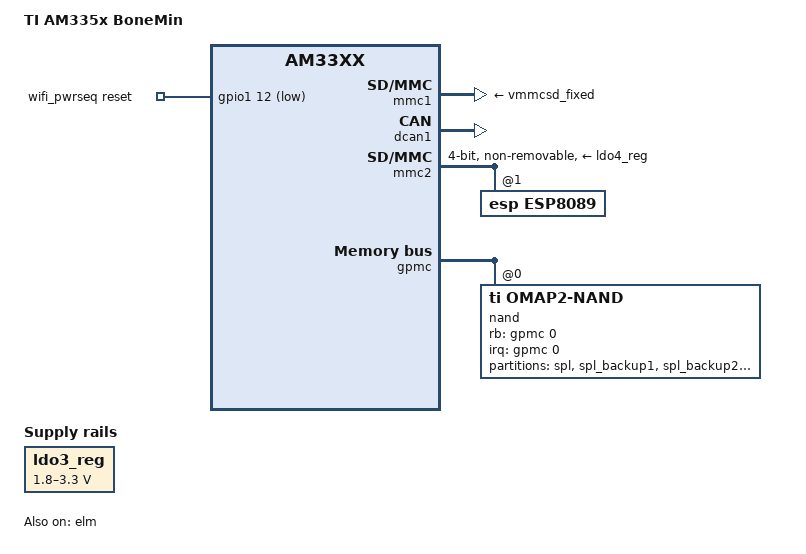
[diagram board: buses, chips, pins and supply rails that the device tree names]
// SPDX-License-Identifier: GPL-2.0-only
/*
 * Copyright (C) 2012 Texas Instruments Incorporated - http://www.ti.com/
 */
/dts-v1/;

#include "am33xx.dtsi"
#include "am335x-bone-common.dtsi"
#include <dt-bindings/interrupt-controller/irq.h>

/ {
	model = "TI AM335x BoneMin";
	compatible = "ti,am335x-bone", "ti,am33xx";
	
	wifi_pwrseq: wifi_pwrseq {
		compatible = "mmc-pwrseq-simple";
		reset-gpios = <&gpio1 12 GPIO_ACTIVE_LOW>; /* GPIO_1[12] */
		/* The esp8089 needs 200 ms after driving wifi-en high */
		post-power-on-delay-ms = <200>;
	};
};

&ldo3_reg {
	regulator-min-microvolt = <1800000>;
	regulator-max-microvolt = <3300000>;
	regulator-always-on;
};

&mmc1 {
	/* vmmc-supply = <&ldo3_reg>;*/
	vmmc-supply = <&vmmcsd_fixed>;
};

&am33xx_pinmux {
	nandflash_pins_s0: nandflash_pins_s0 {
		pinctrl-single,pins = <
			AM33XX_PADCONF(AM335X_PIN_GPMC_AD0, PIN_INPUT_PULLUP, MUX_MODE0)
			AM33XX_PADCONF(AM335X_PIN_GPMC_AD1, PIN_INPUT_PULLUP, MUX_MODE0)
			AM33XX_PADCONF(AM335X_PIN_GPMC_AD2, PIN_INPUT_PULLUP, MUX_MODE0)
			AM33XX_PADCONF(AM335X_PIN_GPMC_AD3, PIN_INPUT_PULLUP, MUX_MODE0)
			AM33XX_PADCONF(AM335X_PIN_GPMC_AD4, PIN_INPUT_PULLUP, MUX_MODE0)
			AM33XX_PADCONF(AM335X_PIN_GPMC_AD5, PIN_INPUT_PULLUP, MUX_MODE0)
			AM33XX_PADCONF(AM335X_PIN_GPMC_AD6, PIN_INPUT_PULLUP, MUX_MODE0)
			AM33XX_PADCONF(AM335X_PIN_GPMC_AD7, PIN_INPUT_PULLUP, MUX_MODE0)
			AM33XX_PADCONF(AM335X_PIN_GPMC_WAIT0, PIN_INPUT_PULLUP, MUX_MODE0)
			AM33XX_PADCONF(AM335X_PIN_GPMC_WPN, PIN_INPUT_PULLUP, MUX_MODE7)	/* gpmc_wpn.gpio0_30 */
			AM33XX_PADCONF(AM335X_PIN_GPMC_CSN0, PIN_OUTPUT, MUX_MODE0)
			AM33XX_PADCONF(AM335X_PIN_GPMC_ADVN_ALE, PIN_OUTPUT, MUX_MODE0)
			AM33XX_PADCONF(AM335X_PIN_GPMC_OEN_REN, PIN_OUTPUT, MUX_MODE0)
			AM33XX_PADCONF(AM335X_PIN_GPMC_WEN, PIN_OUTPUT, MUX_MODE0)
			AM33XX_PADCONF(AM335X_PIN_GPMC_BEN0_CLE, PIN_OUTPUT, MUX_MODE0)
		>;
	};
	
	mmc2_pins: pinmux_emmc_pins {
		pinctrl-single,pins = <
			AM33XX_PADCONF(AM335X_PIN_GPMC_CSN1, PIN_INPUT_PULLUP, MUX_MODE2) /* gpmc_csn1.mmc1_clk */
			AM33XX_PADCONF(AM335X_PIN_GPMC_CSN2, PIN_INPUT_PULLUP, MUX_MODE2) /* gpmc_csn2.mmc1_cmd */
			AM33XX_PADCONF(AM335X_PIN_GPMC_AD8,  PIN_INPUT_PULLUP, MUX_MODE2) /* gpmc_ad8.mmc1_dat0 */
			AM33XX_PADCONF(AM335X_PIN_GPMC_AD9,  PIN_INPUT_PULLUP, MUX_MODE2) /* gpmc_ad9.mmc1_dat1 */
			AM33XX_PADCONF(AM335X_PIN_GPMC_AD10, PIN_INPUT_PULLUP, MUX_MODE2) /* gpmc_ad10.mmc1_dat2 */
			AM33XX_PADCONF(AM335X_PIN_GPMC_AD11, PIN_INPUT_PULLUP, MUX_MODE2) /* gpmc_ad11.mmc1_dat3 */
			
			// AM33XX_PADCONF(AM335X_PIN_GPMC_AD12, PIN_INPUT_PULLUP, MUX_MODE7) /* gpmc_ad12.mmc1_dat4 -> GPIO_1[12] */
			// AM33XX_PADCONF(AM335X_PIN_GPMC_AD13, PIN_INPUT_PULLUP, MUX_MODE2) /* gpmc_ad13.mmc1_dat5 */
			// AM33XX_PADCONF(AM335X_PIN_GPMC_AD14, PIN_INPUT_PULLUP, MUX_MODE2) /* gpmc_ad14.mmc1_dat6 */
			// AM33XX_PADCONF(AM335X_PIN_GPMC_AD15, PIN_INPUT_PULLUP, MUX_MODE2) /* gpmc_ad15.mmc1_dat7 */
		>;
	};
	
	dcan0_pins: pinmux_dcan0_pins {
		pinctrl-single,pins = <
			AM33XX_PADCONF(AM335X_PIN_UART1_CTSN, PIN_OUTPUT, MUX_MODE2)	/* CAN TX */
			AM33XX_PADCONF(AM335X_PIN_UART1_RTSN, PIN_INPUT, MUX_MODE2)		/* CAN RX */
		>;
	};

	dcan1_pins: pinmux_dcan1_pins {
			pinctrl-single,pins = <
					AM33XX_PADCONF(AM335X_PIN_UART1_RXD, PIN_OUTPUT, MUX_MODE2)
					AM33XX_PADCONF(AM335X_PIN_UART1_TXD, PIN_INPUT, MUX_MODE2)
			>;
	};
	
	wifi_rst_pin: pinmux_wifi_rst {
		pinctrl-single,pins = <
		AM33XX_IOPAD(AM335X_PIN_GPMC_AD12, PIN_INPUT | MUX_MODE7) /* GPMC_AD12.gpio1_12  */
		>;
	};

};

&elm {
	status = "okay";
};

/*
&dcan0 {
	pinctrl-names = "default";
	pinctrl-0 = <&dcan0_pins>;

	status = "okay";
};
*/

&dcan1 {
	pinctrl-names = "default";
	pinctrl-0 = <&dcan1_pins>;

	status = "okay";
};

&mmc2 {
	pinctrl-names = "default";
	pinctrl-0 = <&mmc2_pins &wifi_rst_pin>;
	/* vmmc-supply = <&vmmcsd_fixed>; */
	vmmc-supply = <&ldo4_reg>;
	mmc-pwrseq = <&wifi_pwrseq>;
	bus-width = <4>;
	non-removable;
	status = "okay";

	#address-cells = <1>;
	#size-cells = <0>;
	esp8089: sdio_wifi@1 {
		compatible = "esp,esp8089";
		reg = <1>;
		esp,crystal-26M-en = <2>;
		status = "okay";
	};
};

&gpmc {
	status = "okay";
	pinctrl-names = "default";
	pinctrl-0 = <&nandflash_pins_s0>;
	ranges = <0 0 0x08000000 0x1000000>;	/* CS0: 16MB for NAND */
	nand@0,0 {
		compatible = "ti,omap2-nand";
		reg = <0 0 4>; /* CS0, offset 0, IO size 4 */
		interrupt-parent = <&gpmc>;
		interrupts = <0 IRQ_TYPE_NONE>, /* fifoevent */
			     <1 IRQ_TYPE_NONE>;	/* termcount */
		rb-gpios = <&gpmc 0 GPIO_ACTIVE_HIGH>; /* gpmc_wait0 */
		ti,nand-xfer-type = "prefetch-dma";
		ti,nand-ecc-opt = "bch8";
		ti,elm-id = <&elm>;
		nand-bus-width = <8>;
		gpmc,device-width = <1>;

        gpmc,sync-clk-ps = <0>;
        gpmc,cs-on-ns = <0>;
        gpmc,cs-rd-off-ns = <280>;
        gpmc,cs-wr-off-ns = <280>;
        gpmc,adv-on-ns = <50>;     
        gpmc,adv-rd-off-ns = <280>;
        gpmc,adv-wr-off-ns = <280>;
        gpmc,we-on-ns = <50>;
        gpmc,we-off-ns = <200>;
        gpmc,oe-on-ns = <50>;
        gpmc,oe-off-ns = <150>;
        gpmc,access-ns = <200>;
        gpmc,rd-cycle-ns = <300>;
        gpmc,wr-cycle-ns = <300>;
        gpmc,wait-on-read = "true";
        gpmc,wait-on-write = "true";
        gpmc,bus-turnaround-ns = <0>;
        gpmc,cycle2cycle-delay-ns = <120>;
        gpmc,cycle2cycle-samecsen = "true";
        gpmc,clk-activation-ns = <0>;
        gpmc,wait-monitoring-ns = <0>;
        gpmc,wr-access-ns = <40>;
        gpmc,wr-data-mux-bus-ns = <0>;
		
/*	
		gpmc,sync-clk-ps = <0>;
		gpmc,cs-on-ns = <0>;
		gpmc,cs-rd-off-ns = <44>;
		gpmc,cs-wr-off-ns = <44>;
		gpmc,adv-on-ns = <6>;
		gpmc,adv-rd-off-ns = <34>;
		gpmc,adv-wr-off-ns = <44>;
		gpmc,we-on-ns = <0>;
		gpmc,we-off-ns = <40>;
		gpmc,oe-on-ns = <0>;
		gpmc,oe-off-ns = <54>;
		gpmc,access-ns = <64>;
		gpmc,rd-cycle-ns = <82>;
		gpmc,wr-cycle-ns = <82>;
		gpmc,bus-turnaround-ns = <0>;
		gpmc,cycle2cycle-delay-ns = <0>;
		gpmc,clk-activation-ns = <0>;
		gpmc,wr-access-ns = <40>;
		gpmc,wr-data-mux-bus-ns = <0>;
*/

	
		/* MTD partition table */
		/* All SPL-* partitions are sized to minimal length
		 * which can be independently programmable. For
		 * NAND flash this is equal to size of erase-block */
		#address-cells = <1>;
		#size-cells = <1>;
		partition@0 {
			label = "spl";
			reg = <0x0 0x20000>;
		};

		partition@1 {
			label = "spl_backup1";
			reg = <0x20000 0x20000>;
		};

		partition@2 {
			label = "spl_backup2";
			reg = <0x40000 0x20000>;
		};

		partition@3 {
			label = "spl_backup3";
			reg = <0x60000 0x20000>;
		};

		partition@4 {
			label = "u-boot";
			reg = <0x80000 0x1c0000>;
		};

		partition@5 {
			label = "bootenv";
			reg = <0x240000 0x20000>;
		};
		
		partition@6 {
			label = "fdt";
			reg = <0x260000 0x20000>;
		};

		partition@7 {
			label = "kernel";
			reg = <0x280000 0x500000>;
		};

		partition@8 {
			label = "root";
			reg = <0x800000 0x1400000>;
		};
		
		partition@9 {
			label = "config";
			reg = <0x1c00000 0x1400000>;
		};
	};
};

